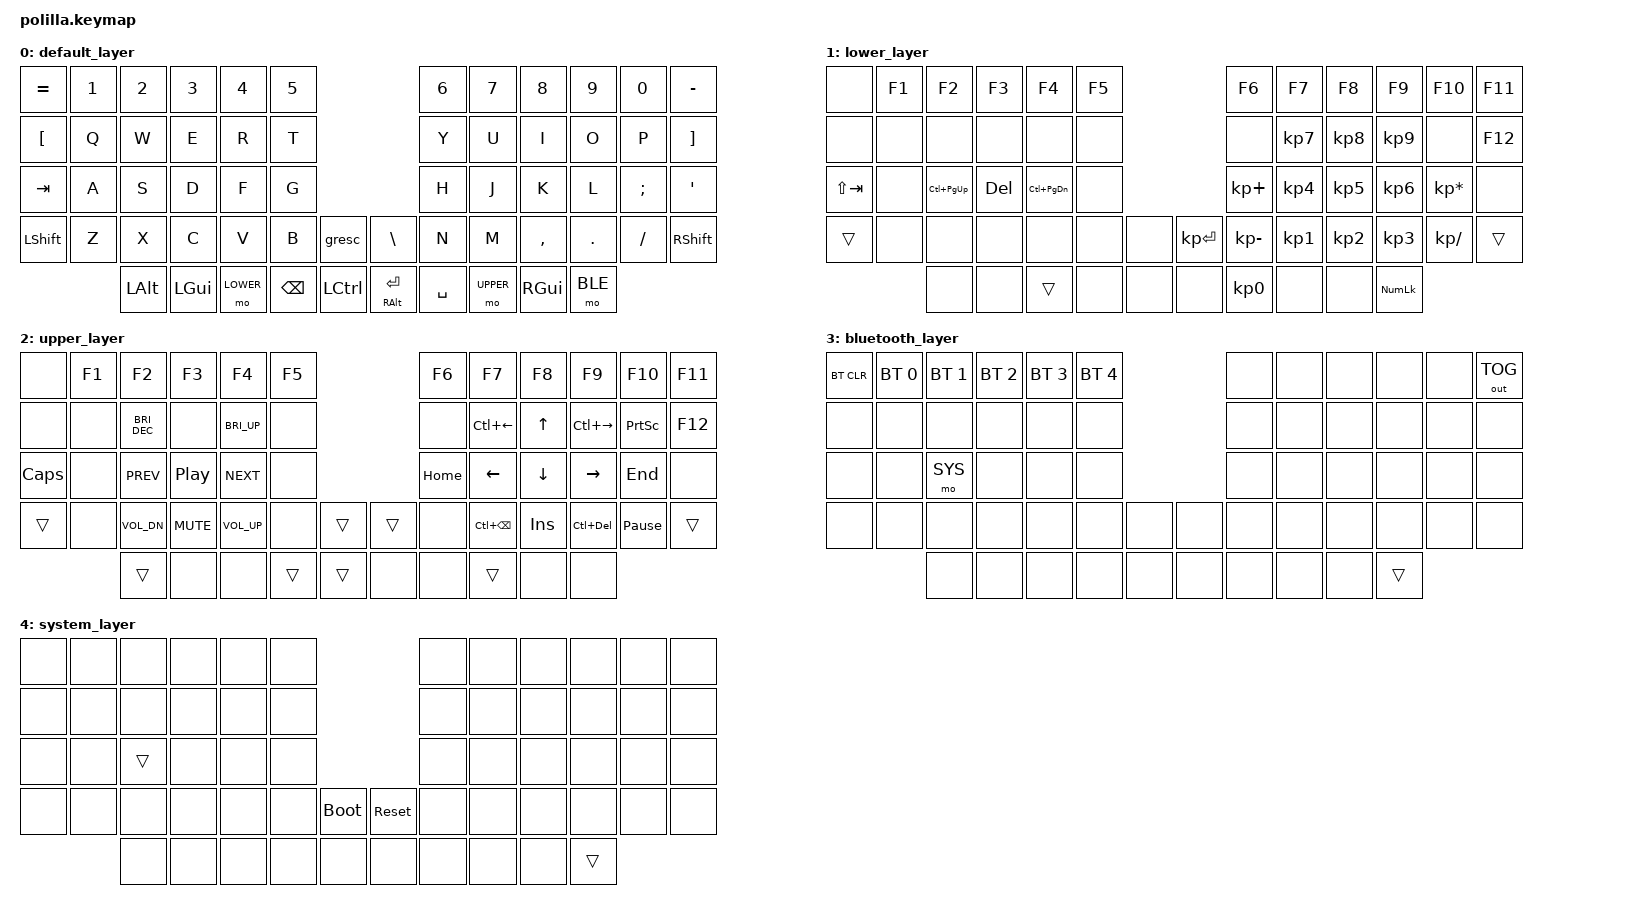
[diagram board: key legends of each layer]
/*
 * Polilla board configuration
 *
 * Copyright (c) 2020 elagil
 * SPDX-License-Identifier: MIT
 */

#include <behaviors.dtsi>
#include <dt-bindings/zmk/keys.h>
#include <dt-bindings/zmk/bt.h>
#include <dt-bindings/zmk/outputs.h>

#define LOWER 1
#define UPPER 2
#define BLE 3
#define SYS 4

/ {
    keymap {
        compatible = "zmk,keymap";

        default_layer {
// ,-----------------------------------,              ,-----------------------------------,
// |  =  |  1  |  2  |  3  |  4  |  5  |              |  6  |  7  |  8  |  9  |  0  |  -  |
// |  [  |  Q  |  W  |  E  |  R  |  T  |              |  Y  |  U  |  I  |  O  |  P  |  ]  |
// | TAB |  A  |  S  |  D  |  F  |  G  |-----,  ,-----|  H  |  J  |  K  |  L  |  ;  |  '  |
// | SFT |  Z  |  X  |  C  |  V  |  B  |GESC |  |  \  |  N  |  M  |  ,  |  .  |  /  | SFT |
// '-----------|  LA | GUI |LOWER| BSP | CTL |  | RA* | RA_ |UPPER| GUI | BLE |-----------'
//             '-----------------------------'  '-----------------------------'
            bindings = <
&kp EQUAL   &kp N1      &kp N2      &kp N3      &kp N4      &kp N5                              &kp N6      &kp N7      &kp N8      &kp N9      &kp N0      &kp MINUS
&kp LBKT    &kp Q       &kp W       &kp E       &kp R       &kp T                               &kp Y       &kp U       &kp I       &kp O       &kp P       &kp RBKT
&kp TAB     &kp A       &kp S       &kp D       &kp F       &kp G                               &kp H       &kp J       &kp K       &kp L       &kp SEMI    &kp SQT
&kp LSHFT   &kp Z       &kp X       &kp C       &kp V       &kp B       &gresc     	&kp BSLH 	&kp N   	&kp M       &kp COMMA   &kp DOT     &kp FSLH    &kp RSHFT
                        &kp LALT    &kp LGUI    &mo LOWER   &kp BSPC    &kp LCTL    &mt RALT RET &kp SPACE  &mo UPPER &kp RGUI  	&mo BLE
            >;
        };

        lower_layer {
// ,-----------------------------------,              ,-----------------------------------,
// | --- | F1  | F2  | F3  | F4  | F5  |              |  F6 |  F7 |  F8 |  F9 | F10 | F11 |
// | --- | --- | --- | --- | --- | --- |              | --- |  7  |  8  |  9  | --- | F12 |
// |S-TAB| --- |PRETB| DEL |NXTTB| --- |-----,  ,-----|  +  |  4  |  5  |  6  |  *  | --- |
// |  T  | --- | --- | --- | --- | --- | --- |  |KPENT|  -  |  1  |  2  |  3  |  /  |  T  |
// '-----------| --- | --- |  T  | --- | --- |  | --- |  0  | --- | --- | NLK |-----------'
//             '-----------------------------'  '-----------------------------'
            bindings = <
&none		&kp F1     	&kp F2      &kp F3      &kp F4      &kp F5                              &kp F6      &kp F7      &kp F8      &kp F9      &kp F10     &kp F11
&none		&none 		&none 		&none 	 	&none 		&none                   			&none       &kp KP_N7   &kp KP_N8   &kp KP_N9   &none       &kp F12
&kp LS(TAB) &none       &kp LC(PG_UP) &kp DEL   &kp LC(PG_DN) &none                           	&kp KP_PLUS &kp KP_N4   &kp KP_N5   &kp KP_N6   &kp KP_MULTIPLY &none
&trans   	&none       &none       &none       &none       &none       &none 		&kp KP_ENTER &kp KP_MINUS &kp KP_N1 &kp KP_N2   &kp KP_N3  	&kp KP_DIVIDE &trans
                        &none  		&none  		&trans      &none      	&none      	&none       &kp KP_N0   &none     	&none       &kp KP_NLCK
            >;
        };

        upper_layer {
// ,-----------------------------------,              ,-----------------------------------,
// | --- |  F1 |  F2 |  F3 |  F4 |  F5 |              |  F6 |  F7 |  F8 |  F9 | F10 | F11 |
// | --- | --- | BRID| --- | BRIU| --- |              | --- | PREV|  UP | NEXT| PRT | F12 |
// | --- | --- | PREV| PLAY| NEXT| --- |-----,  ,-----| HOME| LEFT| DOWN|RIGHT| END | --- |
// |  T  | --- | VOLD| MUTE| VOLU| --- |  T  |  |  T  | --- | DELP| INS | DELN|PAUSE|  T  |
// '-----------|  T  | --- | --- |  T  |  T  |  | --- | --- |  T  | --- | --- |-----------'
//             '-----------------------------'  '-----------------------------'
            bindings = <
&none		&kp F1     	&kp F2      &kp F3      &kp F4      &kp F5                              &kp F6      &kp F7      &kp F8      &kp F9      &kp F10     &kp F11
&none   	&none  		&kp C_BRI_DEC &none  	&kp C_BRI_UP &none                     			&none       &kp LC(LEFT) &kp UP     &kp LC(RIGHT) &kp PSCRN &kp F12
&kp CAPS  	&none       &kp C_PREV  &kp C_PP    &kp C_NEXT  &none                           	&kp HOME    &kp LEFT    &kp DOWN    &kp RIGHT   &kp END     &none
&trans   	&none       &kp C_VOL_DN &kp C_MUTE &kp C_VOL_UP &none     	&trans      &trans      &none       &kp LC(BSPC) &kp INS    &kp LC(DEL) &kp PAUSE_BREAK &trans
                        &trans      &none       &none     	&trans      &trans      &none       &none       &trans      &none       &none
            >;
        };

        bluetooth_layer {
// ,-----------------------------------,              ,-----------------------------------,
// |BTCLR| BT1 | BT2 | BT3 | BT4 | BT5 |              | --- | --- | --- | --- | --- | TOG |
// | --- | --- | --- | --- | --- | --- |              | --- | --- | --- | --- | --- | --- |
// | --- | --- | SYS | --- | --- | --- |-----,  ,-----| --- | --- | --- | --- | --- | --- |
// | --- | --- | --- | --- | --- | --- | --- |  | --- | --- | --- | --- | --- | --- | --- |
// '-----------| --- | --- | --- | --- | --- |  | --- | --- | --- | --- |  T  |-----------'
//             '-----------------------------'  '-----------------------------'
            bindings = <
&bt BT_CLR	&bt BT_SEL 0 &bt BT_SEL 1 &bt BT_SEL 2 &bt BT_SEL 3 &bt BT_SEL 4                    &none      	&none      	&none      	&none      	&none     	&out OUT_TOG
&none		&none 		&none 		&none 		&none 		&none                    			&none       &none 		&none     	&none 		&none  		&none
&none       &none       &mo SYS		&none  		&none		&none                            	&none    	&none    	&none    	&none   	&none     	&none
&none   	&none       &none 		&none 		&none 		&none     	&none 		&none      	&none       &none 		&none    	&none 		&none    	&none
                        &none      	&none       &none      	&none      	&none      	&none       &none       &none      	&none      	&trans
            >;
        };

        system_layer {
// ,-----------------------------------,              ,-----------------------------------,
// | --- | --- | --- | --- | --- | --- |              | --- | --- | --- | --- | --- | --- |
// | --- | --- | --- | --- | --- | --- |              | --- | --- | --- | --- | --- | --- |
// | --- | --- |  T  | --- | --- | --- |-----,  ,-----| --- | --- | --- | --- | --- | --- |
// | --- | --- | --- | --- | --- | --- |BOOT |  | RST | --- | --- | --- | --- | --- | --- |
// '-----------| --- | --- | --- | --- | --- |  | --- | --- | --- | --- |  T  |-----------'
//             '-----------------------------'  '-----------------------------'
            bindings = <
&none		&none 		&none 		&none 		&none 		&none	                    		&none      	&none      	&none      	&none      	&none     	&none
&none		&none 		&none 		&none 		&none 		&none                    			&none       &none 		&none     	&none 		&none  		&none
&none       &none       &trans  	&none    	&none		&none                            	&none    	&none    	&none    	&none   	&none     	&none
&none   	&none       &none 		&none 		&none 		&none     	&bootloader &sys_reset  &none       &none 		&none    	&none 		&none    	&none
                        &none      	&none       &none      	&none      	&none      	&none       &none       &none      	&none      	&trans
            >;
        };
    };
};
